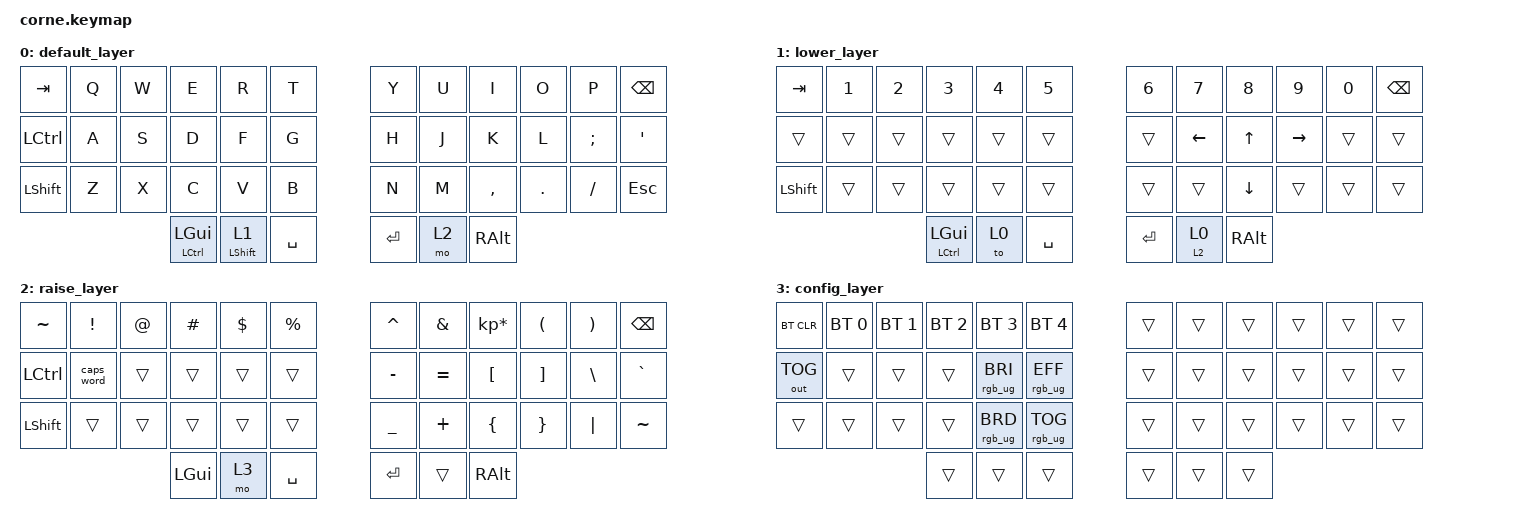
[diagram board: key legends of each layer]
/*
 * Copyright (c) 2020 The ZMK Contributors
 *
 * SPDX-License-Identifier: MIT
 */

#include <behaviors.dtsi>
#include <dt-bindings/zmk/keys.h>
#include <dt-bindings/zmk/bt.h>
#include <dt-bindings/zmk/rgb.h>
#include <dt-bindings/zmk/ext_power.h>
#include <dt-bindings/zmk/outputs.h>
#include <../boards/shields/corne/boards/nice_nano.overlay>

// Overwrite number of leds on the keyboard. A Corne has 27 per side.
&led_strip { chain-length = <27>; };

// Overwrite the display cs pin
// This have to be comment out for the right side.
&nice_view_spi {
  cs-gpios = <&pro_micro 0 GPIO_ACTIVE_HIGH>;
};

/ {
    behaviors {
        mth: my_tolayer_hold {
            compatible = "zmk,behavior-hold-tap";
            label = "MY_TOLAYER_HOLD";
            #binding-cells = <2>;
            flavor = "hold-preferred";
            tapping-term-ms = <200>;
            quick-tap-ms = <125>;
            bindings = <&kp>, <&to>;
        };

        mll: my_holdlater_tolayer {
            compatible = "zmk,behavior-hold-tap";
            label = "MY_HOLDLAYER_TOHOLD";
            #binding-cells = <2>;
            flavor = "hold-preferred";
            tapping-term-ms = <200>;
            quick-tap-ms = <125>;
            bindings = <&mo>, <&to>;
        };
    };

    keymap {
        compatible = "zmk,keymap";

        default_layer {
            // -----------------------------------------------------------------------------------------
            // |  TAB |  Q  |  W  |  E  |  R  |  T  |   |  Y  |  U   |  I  |  O  |  P  | BKSP |
            // | CTRL |  A  |  S  |  D  |  F  |  G  |   |  H  |  J   |  K  |  L  |  ;  |  '   |
            // | SHFT |  Z  |  X  |  C  |  V  |  B  |   |  N  |  M   |  ,  |  .  |  /  | ESC  |
            //                    | GUI | LWR | SPC |   | ENT | RSE  | ALT |
            bindings = <
                &kp TAB   &kp Q &kp W &kp E &kp R &kp T   &kp Y &kp U  &kp I     &kp O   &kp P    &kp BSPC
                &kp LCTRL &kp A &kp S &kp D &kp F &kp G   &kp H &kp J  &kp K     &kp L   &kp SEMI &kp SQT
                &kp LSHFT &kp Z &kp X &kp C &kp V &kp B   &kp N &kp M  &kp COMMA &kp DOT &kp FSLH &kp ESC
                                &mt LCTRL LGUI &mth LSHFT 1 &kp SPACE   &kp RET &mo 2 &kp RALT
            >;
        };

        lower_layer {
            // -----------------------------------------------------------------------------------------
            // |  TAB |  1  |  2  |  3  |  4  |  5  |   |  6  |  7  |  8  |  9  |  0  | BKSP |
            // |      |     |     |     |     |     |   |     | LFT |  UP | RGT |     |      |
            // | SHFT |     |     |     |     |     |   |     |     | DWN |     |     |      |
            //                    | GUI | DFL | SPC |   | ENT |     | ALT |
            bindings = <
                &kp TAB    &kp N1   &kp N2  &kp N3  &kp N4  &kp N5  &kp N6   &kp N7   &kp N8     &kp N9    &kp N0 &kp BSPC
                &trans     &trans   &trans  &trans  &trans  &trans  &trans   &kp LEFT &kp UP     &kp RIGHT &trans &trans
                &kp LSHFT  &trans   &trans  &trans  &trans  &trans  &trans   &trans   &kp DOWN   &trans    &trans &trans
                                        &mt LCTRL LGUI  &to 0   &kp SPACE    &kp RET  &mll 2 0   &kp RALT
            >;
        };

        raise_layer {
            // -----------------------------------------------------------------------------------------
            // |  ~   |  !  |  @  |  #  |  $  |  %  |   |  ^  |  &  |  *  |  (  |  )  | BKSP |
            // | CTRL |     |     |     |     |     |   |  -  |  =  |  [  |  ]  |  \  |  `   |
            // | SHFT |     |     |     |     |     |   |  _  |  +  |  {  |  }  | "|" |  ~   |
            //                    | GUI |     | SPC |   | ENT |     | ALT |
            bindings = <
                &kp TILDE &kp EXCL     &kp AT &kp HASH &kp DLLR &kp PRCNT   &kp CARET &kp AMPS  &kp KP_MULTIPLY &kp LPAR &kp RPAR &kp BSPC
                &kp LCTRL &caps_word   &trans &trans   &trans   &trans      &kp MINUS &kp EQUAL &kp LBKT        &kp RBKT &kp BSLH &kp GRAVE
                &kp LSHFT &trans       &trans &trans   &trans   &trans      &kp UNDER &kp PLUS  &kp LBRC        &kp RBRC &kp PIPE &kp TILDE
                                              &kp LGUI &mo 3    &kp SPACE   &kp RET   &trans    &kp RALT
            >;
        };

        config_layer {
            // -----------------------------------------------------------------------------------------
            // | BTCLR| BT1 | BT2 | BT3 | BT4 | BT5 |   |     |     |     |     |     |      |
            // | OUT  |     |     |     | BR+ | EFF |   |     |     |     |     |     |      |
            // |      |     |     |     | BR- | RGB |   |     |     |     |     |     |      |
            //                    | GUI |     | SPC |   | ENT |     | ALT |
            bindings = <
                &bt BT_CLR      &bt BT_SEL 0    &bt BT_SEL 1    &bt BT_SEL 2    &bt BT_SEL 3    &bt BT_SEL 4    &trans  &trans  &trans  &trans  &trans  &trans
                &out OUT_TOG    &trans          &trans          &trans          &rgb_ug RGB_BRI &rgb_ug RGB_EFF &trans  &trans  &trans  &trans  &trans  &trans
                &trans          &trans          &trans          &trans          &rgb_ug RGB_BRD &rgb_ug RGB_TOG &trans  &trans  &trans  &trans  &trans  &trans
                                                                &trans          &trans          &trans          &trans  &trans  &trans
            >;
        };
    };
};
